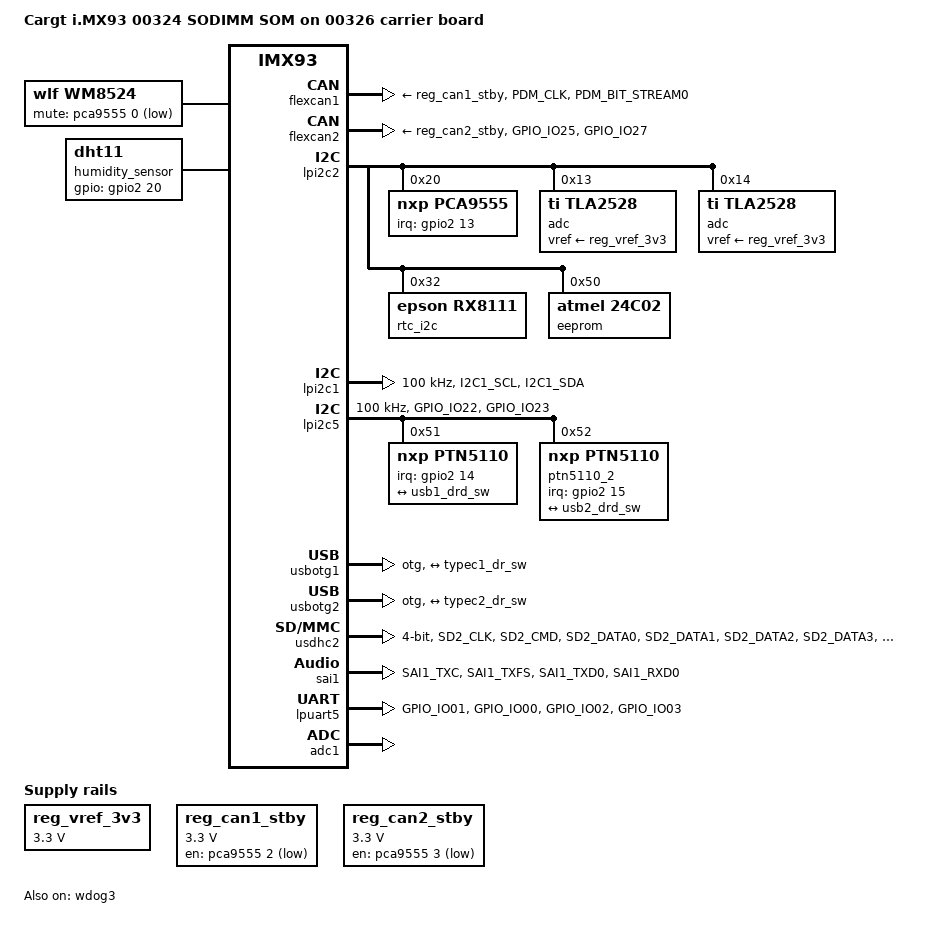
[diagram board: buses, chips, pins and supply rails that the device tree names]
// SPDX-License-Identifier: (GPL-2.0+ OR MIT)
/*
 * Copyright 2022 NXP
 */

 /dts-v1/;

 #include <dt-bindings/usb/pd.h>
 #include "imx93-cargt-00324.dtsi"
 
 / {
	 model = "Cargt i.MX93 00324 SODIMM SOM on 00326 carrier board";

	 reg_vref_3v3: regulator-ext-adc-vref {
		compatible = "regulator-fixed";
		regulator-name = "vref_3v3";
		regulator-min-microvolt = <3300000>;
		regulator-max-microvolt = <3300000>;
		regulator-always-on;
	};

	 reg_can1_stby: regulator-can1-stby {
		 compatible = "regulator-fixed";
		 regulator-name = "can1-stby";
		 regulator-min-microvolt = <3300000>;
		 regulator-max-microvolt = <3300000>;
		 gpio = <&pca9555 2 GPIO_ACTIVE_LOW>;
		 enable-active-low;
	 };
 
	 reg_can2_stby: regulator-can2-stby {
		 compatible = "regulator-fixed";
		 regulator-name = "can2-stby";
		 regulator-min-microvolt = <3300000>;
		 regulator-max-microvolt = <3300000>;
		 gpio = <&pca9555 3 GPIO_ACTIVE_LOW>;
		 enable-active-low;
	 };

	 wm8524: audio-codec {
		 #sound-dai-cells = <0>;
		 compatible = "wlf,wm8524";
		 wlf,mute-gpios = <&pca9555 0 GPIO_ACTIVE_LOW>; 
		 clocks = <&clk IMX93_CLK_SAI1>;
		 clock-names = "mclk";
		 status = "okay";
	 };
 
	 sound-wm8524 {
		 compatible = "simple-audio-card";
		 simple-audio-card,name = "wm8524-audio";
		 simple-audio-card,format = "i2s";
		 simple-audio-card,frame-master = <&cpudai>;
		 simple-audio-card,bitclock-master = <&cpudai>;
		 simple-audio-card,widgets =
			 "Line", "Left Line Out Jack",
			 "Line", "Right Line Out Jack";
		 simple-audio-card,routing =
			 "Left Line Out Jack", "LINEVOUTL",
			 "Right Line Out Jack", "LINEVOUTR";
 
		 status = "okay";
 
		 cpudai: simple-audio-card,cpu {
			 sound-dai = <&sai1>;
			 dai-tdm-slot-num = <2>;
			 dai-tdm-slot-width = <32>;
		 };
 
		 simple-audio-card,codec {
			 sound-dai = <&wm8524>;
			 //clocks = <&audio_blk_ctrl IMX8MP_CLK_AUDIO_BLK_CTRL_SAI1_MCLK1>;
		 };
	 };
 
	 humidity_sensor {
		compatible = "dht11";
		pinctrl-0 = <&pinctrl_dht11>;
		gpios = <&gpio2 20 GPIO_ACTIVE_HIGH>;
		status = "okay";
     };

	 aliases {
		 rtc0 = &rtc_i2c;
		 rtc1 = &bbnsm_rtc;
	 };
 };

 &wdog3 {
	status = "okay";
 };
 
 &flexcan1 {
	 pinctrl-names = "default";
	 pinctrl-0 = <&pinctrl_flexcan1>;
	 xceiver-supply = <&reg_can1_stby>;
	 status = "okay";
 };
 
 &flexcan2 {
	 pinctrl-names = "default";
	 pinctrl-0 = <&pinctrl_flexcan2>;
	 xceiver-supply = <&reg_can2_stby>;
	 status = "okay";
 };

 &lpi2c2 {
	 pca9555: pca9555@20 {
		 compatible = "nxp,pca9555";
		 pinctrl-0 = <&pinctrl_pca0>;
		 gpio-controller;
		 #gpio-cells = <2>;
		 reg = <0x20>;
		 interrupt-parent = <&gpio2>;
		 interrupts = <13 IRQ_TYPE_LEVEL_LOW>;		
	 };
 
	 adc@13 {
		 compatible = "ti,tla2528";
		 reg = <0x13>;
		 vref-supply = <&reg_vref_3v3>;
	 };
 
	 adc@14 {
		 compatible = "ti,tla2528";
		 reg = <0x14>;
		 vref-supply = <&reg_vref_3v3>;
	 };
 
	 rtc_i2c: rtc@32 {
		 compatible ="epson,rx8111";
		 reg = <0x32>;
	 };
 
	 eeprom@50 {
		 compatible = "atmel,24c02";
		 reg = <0x50>;
		 pagesize = <16>;		
	 };
 };
 
 
 &lpi2c1 {
	 #address-cells = <1>;
	 #size-cells = <0>;
	 clock-frequency = <100000>;
	 pinctrl-names = "default", "sleep";
	 pinctrl-0 = <&pinctrl_lpi2c1>;
	 pinctrl-1 = <&pinctrl_lpi2c1>;
	 status = "okay";
 };
 
 &lpi2c5 {
	 #address-cells = <1>;
	 #size-cells = <0>;
	 clock-frequency = <100000>;
	 pinctrl-names = "default", "sleep";
	 pinctrl-0 = <&pinctrl_lpi2c5>;
	 pinctrl-1 = <&pinctrl_lpi2c5>;
	 status = "okay";
 
	 ptn5110: tcpc@51 {
		 compatible = "nxp,ptn5110";
		 reg = <0x51>;
		 pinctrl-names = "default";
		 pinctrl-0 = <&pinctrl_ptn5110>;
		 interrupt-parent = <&gpio2>;
		 interrupts = <14 IRQ_TYPE_LEVEL_LOW>;	
		 status = "okay";
 
		 port {
			 typec1_dr_sw: endpoint {
				 remote-endpoint = <&usb1_drd_sw>;
			 };
		 };
 
		 typec1_con: connector {
			 compatible = "usb-c-connector";
			 label = "USB-C";
			 power-role = "dual";
			 data-role = "dual";
			 try-power-role = "sink";
			 source-pdos = <PDO_FIXED(5000, 3000, PDO_FIXED_USB_COMM)>;
			 sink-pdos = <PDO_FIXED(5000, 3000, PDO_FIXED_USB_COMM)
					  PDO_VAR(5000, 20000, 3000)>;
			 op-sink-microwatt = <15000000>;
			 self-powered;
		 };
	 };
 
	 ptn5110_2: tcpc@52 {
		 compatible = "nxp,ptn5110";
		 reg = <0x52>;
		 pinctrl-names = "default";
		 pinctrl-0 = <&pinctrl_ptn5110_2>;
		 interrupt-parent = <&gpio2>;
		 interrupts = <15 IRQ_TYPE_LEVEL_LOW>;			
		 status = "okay";
 
		 port {
			 typec2_dr_sw: endpoint {
				 remote-endpoint = <&usb2_drd_sw>;
			 };
		 };
 
		 typec2_con: connector {
			 compatible = "usb-c-connector";
			 label = "USB-C";
			 power-role = "dual";
			 data-role = "dual";
			 try-power-role = "sink";
			 source-pdos = <PDO_FIXED(5000, 3000, PDO_FIXED_USB_COMM)>;
			 sink-pdos = <PDO_FIXED(5000, 3000, PDO_FIXED_USB_COMM)
					  PDO_VAR(5000, 20000, 3000)>;
			 op-sink-microwatt = <15000000>;
			 self-powered;
		 };
	 };
 };
 
 &usbotg1 {
	 dr_mode = "otg";
	 hnp-disable;
	 srp-disable;
	 adp-disable;
	 usb-role-switch;
	 disable-over-current;
	 samsung,picophy-pre-emp-curr-control = <3>;
	 samsung,picophy-dc-vol-level-adjust = <7>;
	 status = "okay";
 
	 port {
		 usb1_drd_sw: endpoint {
			 remote-endpoint = <&typec1_dr_sw>;
		 };
	 };
 };
 
 &usbotg2 {
	 dr_mode = "otg";
	 hnp-disable;
	 srp-disable;
	 adp-disable;
	 usb-role-switch;
	 disable-over-current;
	 samsung,picophy-pre-emp-curr-control = <3>;
	 samsung,picophy-dc-vol-level-adjust = <7>;
	 status = "okay";
 
	 port {
		 usb2_drd_sw: endpoint {
			 remote-endpoint = <&typec2_dr_sw>;
		 };
	 };
 };
 
 &usdhc2 {
	 pinctrl-names = "default", "state_100mhz", "state_200mhz";
	 pinctrl-0 = <&pinctrl_usdhc2>, <&pinctrl_usdhc2_gpio>;
	 pinctrl-1 = <&pinctrl_usdhc2>, <&pinctrl_usdhc2_gpio>;
	 pinctrl-2 = <&pinctrl_usdhc2>, <&pinctrl_usdhc2_gpio>;
	 cd-gpios = <&gpio3 00 GPIO_ACTIVE_LOW>;
	 bus-width = <4>;
	 status = "okay";
	 no-sdio;
	 no-mmc;
 };
 
 &sai1 {
	 #sound-dai-cells = <0>;
	 pinctrl-names = "default";
	 pinctrl-0 = <&pinctrl_sai1>;
	 assigned-clocks = <&clk IMX93_CLK_SAI1>;
	 assigned-clock-parents = <&clk IMX93_CLK_AUDIO_PLL>;
	 assigned-clock-rates = <12288000>;
	 status = "okay";
 };

 &lpuart5 { /* m.2 uart (bluetooth) */
	pinctrl-names = "default";
	assigned-clocks = <&clk IMX93_CLK_LPUART5>;
	assigned-clock-parents = <&clk IMX93_CLK_24M>;
	pinctrl-0 = <&pinctrl_uart5>;
	fsl,uart-has-rtscts;
	status = "okay";
};

&adc1 {
	status = "okay";
};

// &lpspi4 {
// 	fsl,spi-num-chipselects = <2>;
// 	pinctrl-names = "default", "sleep";
// 	pinctrl-0 = <&pinctrl_lpspi4>;
// 	pinctrl-1 = <&pinctrl_lpspi4>;
// 	cs-gpios = <&gpio2 18 GPIO_ACTIVE_LOW>,
// 				<&gpio2 5 GPIO_ACTIVE_LOW>;
// 	status = "okay";

// 	spidev0: spi@0 {
// 		reg = <0>;
// 		compatible = "lwn,bk4";
// 		spi-max-frequency = <1000000>;
// 	};
// };

&pca9555 {
	gpio-line-names =
		"pca9555-0","pca9555-1","pca9555-2","pca9555-3", 		// 0-3
		"pca9555-4","pca9555-5","pca9555-6","pca9555-7", 		// 4-7
		"pca9555-8","pca9555-9","pca9555-10","pca9555-11", 		// 8-11
		"pca9555-12","pca9555-13","pca9555-14","pca9555-15"; 	// 12-15
 };

&iomuxc {
	
	pinctrl_lpi2c1: lpi2c1grp {
		fsl,pins = <
			MX93_PAD_I2C1_SCL__LPI2C1_SCL			0x40000b9e
			MX93_PAD_I2C1_SDA__LPI2C1_SDA			0x40000b9e
		>;
	};

	pinctrl_lpi2c5: lpi2c5grp {
		fsl,pins = <
			MX93_PAD_GPIO_IO22__LPI2C5_SDA			0x40000b9e
			MX93_PAD_GPIO_IO23__LPI2C5_SCL			0x40000b9e
		>;
	};

	pinctrl_pca0: pca0grp {
		fsl,pins = <
			MX93_PAD_GPIO_IO13__GPIO2_IO13 	0x31e
		>;
	};

	pinctrl_flexcan1: flexcan1grp {
		fsl,pins = <
			MX93_PAD_PDM_CLK__CAN1_TX	0x139e
			MX93_PAD_PDM_BIT_STREAM0__CAN1_RX	0x139e
		>;
	};


	pinctrl_flexcan2: flexcan2grp {
		fsl,pins = <
			MX93_PAD_GPIO_IO25__CAN2_TX	0x139e
			MX93_PAD_GPIO_IO27__CAN2_RX	0x139e
		>;
	};


	pinctrl_reg_usdhc2_vmmc: regusdhc2vmmcgrp {
		fsl,pins = <
			MX93_PAD_SD2_RESET_B__GPIO3_IO07	0x31e
		>;
	};

	pinctrl_usdhc2_gpio: usdhc2gpiogrp {
		fsl,pins = <
			MX93_PAD_SD2_CD_B__GPIO3_IO00		0x31e
		>;
	};

	pinctrl_usdhc2: usdhc2grp {
		fsl,pins = <
			MX93_PAD_SD2_CLK__USDHC2_CLK		0x15fe
			MX93_PAD_SD2_CMD__USDHC2_CMD		0x13fe
			MX93_PAD_SD2_DATA0__USDHC2_DATA0	0x13fe
			MX93_PAD_SD2_DATA1__USDHC2_DATA1	0x13fe
			MX93_PAD_SD2_DATA2__USDHC2_DATA2	0x13fe
			MX93_PAD_SD2_DATA3__USDHC2_DATA3	0x13fe
			MX93_PAD_SD2_VSELECT__USDHC2_VSELECT	0x51e
		>;
	};


		pinctrl_sai1: sai1grp {
		fsl,pins = <
			MX93_PAD_SAI1_TXC__SAI1_TX_BCLK		0x31e
			MX93_PAD_SAI1_TXFS__SAI1_TX_SYNC		0x31e
			MX93_PAD_SAI1_TXD0__SAI1_TX_DATA00		0x31e
			MX93_PAD_SAI1_RXD0__SAI1_MCLK			0x31e
		>;
	};
	pinctrl_ptn5110: ptn5110grp {
		fsl,pins = <
			MX93_PAD_GPIO_IO14__GPIO2_IO14			0x31e
			>;
	};
	pinctrl_ptn5110_2: ptn5110_2grp {
		fsl,pins = <
			MX93_PAD_GPIO_IO15__GPIO2_IO15			0x31e
			>;
	};

	pinctrl_uart5: uart5grp {
	fsl,pins = <
		MX93_PAD_GPIO_IO01__LPUART5_RX			0x31e
		MX93_PAD_GPIO_IO00__LPUART5_TX			0x31e
		MX93_PAD_GPIO_IO02__LPUART5_CTS_B		0x31e
		MX93_PAD_GPIO_IO03__LPUART5_RTS_B       0x31e
	>;
	};

	// pinctrl_lpspi4: lpspi4grp {
	// fsl,pins = <
	// 	MX93_PAD_GPIO_IO18__GPIO2_IO18		0x3fe
	// 	MX93_PAD_GPIO_IO05__GPIO2_IO05		0x3fe
	// 	MX93_PAD_GPIO_IO19__LPSPI4_SIN		0x3fe
	// 	MX93_PAD_GPIO_IO20__LPSPI4_SOUT		0x3fe
	// 	MX93_PAD_GPIO_IO21__LPSPI4_SCK		0x3fe
	// >;
	// };

	pinctrl_dht11: dht11_grp {
		fsl,pins = < 
			MX93_PAD_GPIO_IO20__GPIO2_IO20			0x31e
		>;
	};
	
};
 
